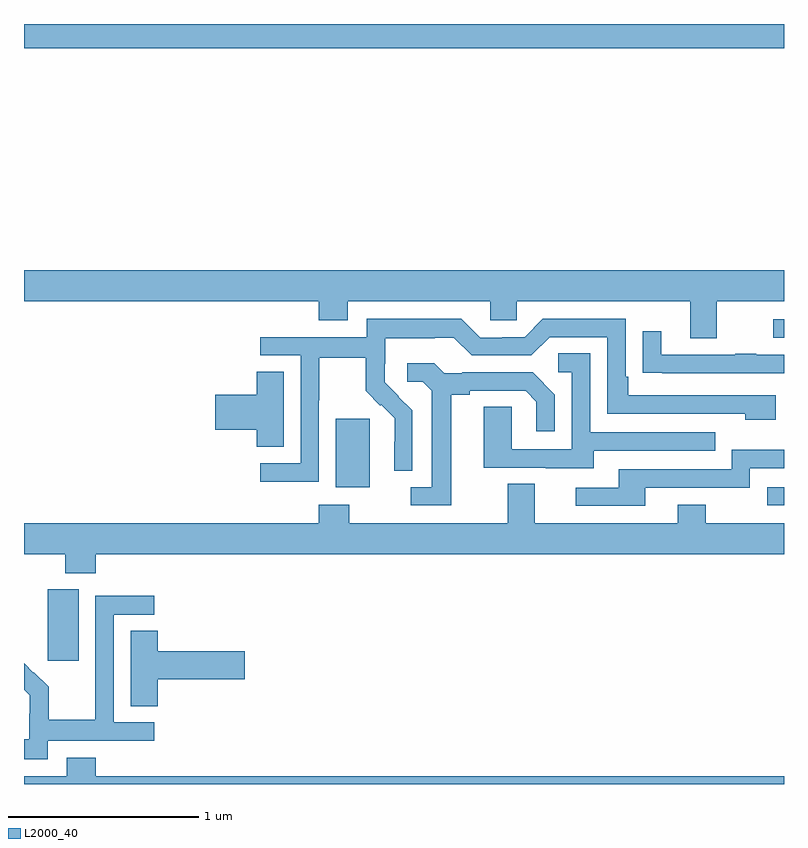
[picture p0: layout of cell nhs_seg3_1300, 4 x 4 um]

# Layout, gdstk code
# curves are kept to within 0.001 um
import gdstk
lib = gdstk.Library(unit=1e-6, precision=1e-09)
def R(c, l, rs):  # rectangles x0, y0, x1, y1
    for r in rs: c.add(gdstk.rectangle(r[:2], r[2:], *l))
def P(c, l, *ps):  # polygons
    for p in ps: c.add(gdstk.Polygon(p, *l))
L2000_40 = (2000, 40)

nhs_seg3_1300 = lib.new_cell('nhs_seg3_1300')
R(nhs_seg3_1300, L2000_40, [(179.126,675.048,179.287,675.424), (182.913,675.867,183,675.963), (180.641,675.962,180.82,676.323), (182.943,676.749,183,676.845), (179,678.272,183,678.4)])
P(nhs_seg3_1300, L2000_40, [(182.647,676.94),(183,676.94),(183,677.104),(179,677.104),(179,676.94),(180.551,676.94),(180.551,676.841),(180.703,676.841),(180.703,676.94),(181.455,676.94),(181.455,676.842),(181.593,676.842),(181.593,676.94),(182.507,676.94),(182.507,676.746),(182.647,676.746)],
  [(180.552,676.42),(180.555,676.42),(180.555,676.644),(180.799,676.644),(180.799,676.469),(180.876,676.392),(180.879,676.395),(180.95,676.325),(180.95,676.202),(180.948,676.202),(180.948,676.048),(181.044,676.048),(181.044,676.366),(180.898,676.514),(180.898,676.611),(180.9,676.611),(180.9,676.745),(181.163,676.745),(181.163,676.749),(181.263,676.749),(181.356,676.656),(181.671,676.656),(181.767,676.752),(182.07,676.752),(182.07,676.35),(182.795,676.35),(182.795,676.316),(182.956,676.316),(182.956,676.446),(182.179,676.446),(182.179,676.543),(182.166,676.543),(182.166,676.848),(181.731,676.848),(181.635,676.752),(181.517,676.752),(181.517,676.749),(181.401,676.749),(181.301,676.849),(180.804,676.849),(180.804,676.752),(180.243,676.752),(180.243,676.656),(180.456,676.656),(180.456,676.089),(180.243,676.089),(180.243,675.991),(180.552,675.991)],
  [(183,676.659),(182.855,676.659),(182.855,676.664),(182.743,676.664),(182.743,676.659),(182.353,676.659),(182.353,676.783),(182.257,676.783),(182.257,676.564),(182.359,676.564),(182.359,676.563),(183,676.563)],
  [(181.999,676.155),(182.639,676.155),(182.639,676.251),(181.98,676.251),(181.98,676.667),(181.812,676.667),(181.812,676.566),(181.884,676.566),(181.884,676.161),(181.566,676.161),(181.566,676.385),(181.421,676.385),(181.421,676.065),(181.745,676.065),(181.745,676.061),(181.999,676.061)],
  [(181.249,676.448),(181.345,676.448),(181.345,676.47),(181.64,676.47),(181.697,676.413),(181.697,676.257),(181.794,676.257),(181.794,676.45),(181.678,676.566),(181.306,676.566),(181.306,676.563),(181.212,676.563),(181.16,676.615),(181.017,676.615),(181.017,676.518),(181.098,676.518),(181.145,676.471),(181.145,675.963),(181.035,675.963),(181.035,675.867),(181.249,675.867)],
  [(180.367,676.571),(180.224,676.571),(180.224,676.448),(180.006,676.448),(180.006,676.265),(180.224,676.265),(180.224,676.174),(180.367,676.174)],
  [(182.269,675.96),(182.82,675.96),(182.82,676.062),(183,676.062),(183,676.159),(182.724,676.159),(182.724,676.056),(182.129,676.056),(182.129,675.96),(181.905,675.96),(181.905,675.864),(182.269,675.864)],
  [(179.378,675.608),(183,675.608),(183,675.772),(182.589,675.772),(182.589,675.871),(182.441,675.871),(182.441,675.772),(181.687,675.772),(181.687,675.98),(181.547,675.98),(181.547,675.772),(180.711,675.772),(180.711,675.871),(180.551,675.871),(180.551,675.772),(179,675.772),(179,675.608),(179.218,675.608),(179.218,675.509),(179.378,675.509)],
  [(179.124,674.628),(179.686,674.628),(179.686,674.724),(179.472,674.724),(179.472,675.291),(179.686,675.291),(179.686,675.39),(179.376,675.39),(179.376,674.96),(179.374,674.96),(179.374,674.737),(179.129,674.737),(179.129,674.911),(179.052,674.988),(179.049,674.985),(179,675.035),(179,674.896),(179.03,674.866),(179.03,674.769),(179.028,674.769),(179.028,674.635),(179,674.635),(179,674.531),(179.124,674.531)],
  [(179.705,674.951),(180.163,674.951),(180.163,675.098),(179.705,675.098),(179.705,675.206),(179.561,675.206),(179.561,674.809),(179.705,674.809)],
  [(183,674.44),(179.378,674.44),(179.378,674.539),(179.225,674.539),(179.225,674.44),(179,674.44),(179,674.4),(183,674.4)])

lib.write_gds('nhs_seg3_1300.gds')
